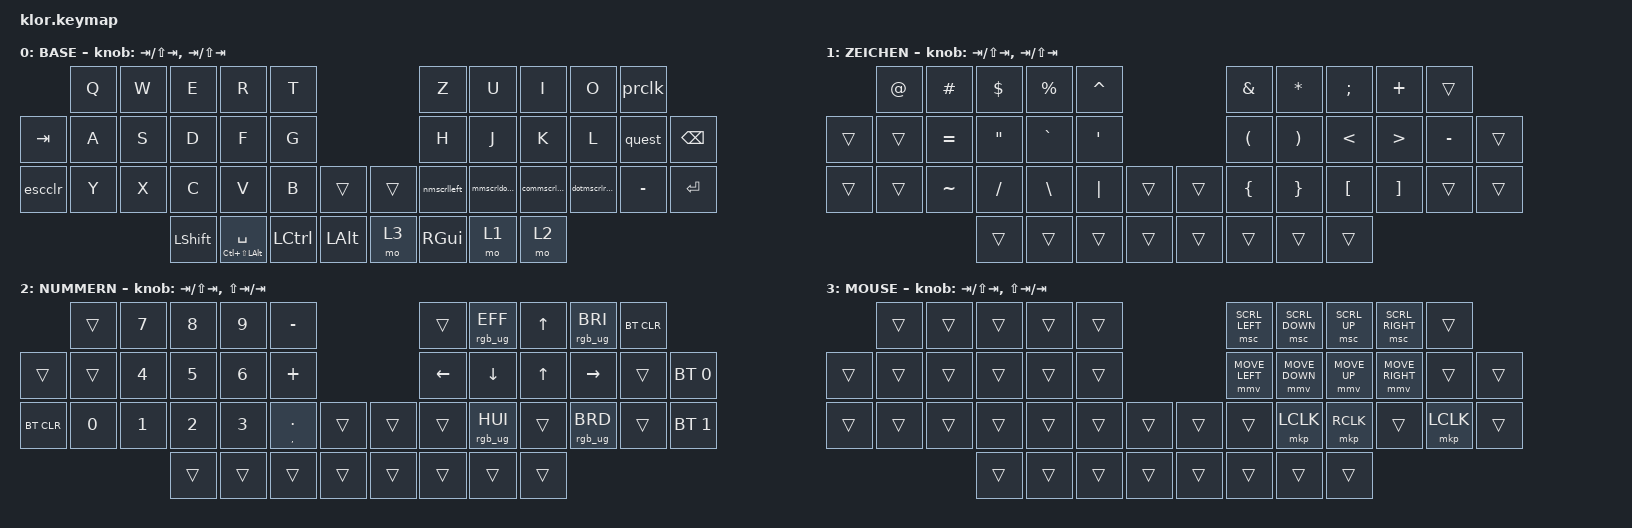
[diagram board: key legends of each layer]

//                               █         █    █            ▄▄▄▀▀▀▀▀▀▄▄▄        █▀▀▀▀▀▀▀▀▀▀█
//                               █        █     █          ▄▀            ▀▄      █          █
//                               █       █      █        ▄▀                ▀▄    █          █
//                               █      █       █        █                  █    █          █
//                               █     █        █       █                    █   █          █
//                               █    █         █       █                    █   █▄▄▄▄▄▄▄▄▄▄█
//                               █   █ █        █       █                    █   █      █
//                               █  █   █       █        █                  █    █       █
//                               █ █     █      █        ▀▄                ▄▀    █        █
//                               ██       █     █          ▀▄            ▄▀      █         █
//                               █         █    █▄▄▄▄▄▄▄▄    ▀▀▀▄▄▄▄▄▄▀▀▀        █          █
//
// ▄▄▄▄▄▄▄▄▄▄▄▄▄▄▄▄▄▄▄▄▄▄▄▄▄▄▄▄▄▄▄▄▄▄▄▄▄▄▄▄▄▄▄▄▄▄▄▄▄▄▄▄▄▄▄▄▄▄▄▄▄▄▄▄▄▄▄▄▄▄▄▄▄▄▄▄▄▄▄▄▄▄▄▄▄▄▄▄▄▄▄▄▄▄▄▄▄▄▄▄▄▄▄▄▄▄▄▄▄▄▄▄▄▄▄▄▄▄▄▄▄▄▄▄▄
       
#define ZMK_POINTING_DEFAULT_MOVE_VAL 1800  // default: 600
#define ZMK_POINTING_DEFAULT_SCRL_VAL 12    // default: 10

#include <behaviors.dtsi>
#include <dt-bindings/zmk/keys.h>
#include <dt-bindings/zmk/bt.h>
#include <dt-bindings/zmk/outputs.h>
#include <dt-bindings/zmk/ext_power.h>
#include <dt-bindings/zmk/rgb.h>
#include <dt-bindings/zmk/pointing.h>


#define BASE   0
#define LOWER  1
#define RAISE  2
#define MOUSE  3

&soft_off {
    hold-time-ms = <5000>; // Only turn off it the key is held for 5 seconds or longer.
};

&mmv {
    acceleration-exponent = <2>;
};

/ {
    behaviors {
        hm: homerow_mods {
            compatible = "zmk,behavior-hold-tap";
            label = "HOMEROW_MODS";
            #binding-cells = <2>;
            tapping-term-ms = <320>;
            quick_tap_ms = <0>;
            flavor = "tap-preferred";
            bindings = <&kp>, <&kp>;
        };

        comma: comma_semi {
            compatible = "zmk,behavior-mod-morph";
            label = "comma_semi";
            #binding-cells = <0>;
            bindings = <&kp COMMA>, <&kp SEMI>;
            mods = <(MOD_LSFT)>;
        };

        dot: dot_colon {
            compatible = "zmk,behavior-mod-morph";
            label = "dot_colon";
            #binding-cells = <0>;
            bindings = <&kp DOT>, <&kp COLON>;
            mods = <(MOD_LSFT)>;
        };

        quest: question_excl {
            compatible = "zmk,behavior-mod-morph";
            label = "question_excl";
            #binding-cells = <0>;
            bindings = <&kp QUESTION>, <&kp EXCL>;
            mods = <(MOD_LSFT)>;
        };

        ctlalt: control_alt {
            compatible = "zmk,behavior-mod-morph";
            label = "control_alt";
            #binding-cells = <0>;
            bindings = <&kp LEFT_CONTROL>, <&kp LEFT_ALT>;
            mods = <(MOD_RGUI)>;
        };

        toadj: toadj {
            compatible = "zmk,behavior-mod-morph";
            label = "toadj";
            #binding-cells = <0>;
            bindings = <&mo 2>, <&to 3>;
            mods = <(MOD_LALT)>;
        };

        escclr: esc_btclr {
            compatible = "zmk,behavior-mod-morph";
            label = "esc_btclr";
            #binding-cells = <0>;
            bindings = <&kp ESC>, <&bt BT_CLR>;
            mods = <(MOD_LSFT)>;
        };

        prclk: p_rclk {
            compatible = "zmk,behavior-mod-morph";
            label = "p_rclk";
            #binding-cells = <0>;
            bindings = <&kp P>, <&mkp RCLK>;
            mods = <(MOD_LALT)>;
        };

        hmleft: h_mleft {
            compatible = "zmk,behavior-mod-morph";
            label = "h_mleft";
            #binding-cells = <0>;
            bindings = <&kp H>, <&mkp MOVE_LEFT>;
            mods = <(MOD_LALT)>;
        };

        jmdown: j_mdown {
            compatible = "zmk,behavior-mod-morph";
            label = "j_mdown";
            #binding-cells = <0>;
            bindings = <&kp J>, <&mkp MOVE_DOWN>;
            mods = <(MOD_LALT)>;
        };

       kmup: k_mup {
            compatible = "zmk,behavior-mod-morph";
            label = "k_mup";
            #binding-cells = <0>;
            bindings = <&kp K>, <&mkp MOVE_UP>;
            mods = <(MOD_LALT)>;
        };

       lmright: l_mright {
            compatible = "zmk,behavior-mod-morph";
            label = "l_mright";
            #binding-cells = <0>;
            bindings = <&kp L>, <&mkp MOVE_RIGHT>;
            mods = <(MOD_LALT)>;
        };

       nmscrlleft: n_mscrlleft {
            compatible = "zmk,behavior-mod-morph";
            label = "n_mscrlleft";
            #binding-cells = <0>;
            bindings = <&kp N>, <&mkp SCRL_LEFT>;
            mods = <(MOD_LALT)>;
        };

       mmscrldown: m_mscrldown {
            compatible = "zmk,behavior-mod-morph";
            label = "m_mscrldown";
            #binding-cells = <0>;
            bindings = <&kp M>, <&mkp SCRL_DOWN>;
            mods = <(MOD_LALT)>;
        };

       commscrlup: com_mscrlup {
            compatible = "zmk,behavior-mod-morph";
            label = "com_mscrlup";
            #binding-cells = <0>;
            bindings = <&comma>, <&mkp SCRL_UP>;
            mods = <(MOD_LALT)>;
        };

       dotmscrlright: dot_mscrlright {
            compatible = "zmk,behavior-mod-morph";
            label = "dot_mscrlright";
            #binding-cells = <0>;
            bindings = <&dot>, <&mkp SCRL_RIGHT>;
            mods = <(MOD_LALT)>;
        };


    };

     combos {
            compatible = "zmk,combos";
            combo_esc {
                timeout-ms = <50>;
                key-positions = <0 1>;
                bindings = <&kp ESC>;
            };
    };



        keymap {
                compatible = "zmk,keymap";


                base_layer {
label= "BASE"                                                  ;
 bindings = <
//╷         ╷         ╷         ╷         ╷                       ╷                       ╷           ╷╷         ╷            ╷             ╷             ╷                ╷          ╷         ╷
              &kp Q     &kp W     &kp E     &kp R                   &kp T                                          &kp Z        &kp U         &kp I        &kp O            &prclk
    &kp TAB   &kp A     &kp S     &kp D     &kp F                   &kp G                                          &kp H        &kp J         &kp K        &kp L            &quest     &kp BSPC
    &escclr   &kp Y     &kp X     &kp C     &kp V                   &kp B                   &trans       &trans    &nmscrlleft  &mmscrldown   &commscrlup  &dotmscrlright   &kp MINUS  &kp RET
                                  &kp LSHFT &hm LC(LS(LALT)) SPACE  &kp LCTRL               &kp LALT     &mo 3     &kp RGUI     &mo 1         &mo 2      
                        >;
            sensor-bindings = <&inc_dec_kp TAB LS(TAB) &inc_dec_kp TAB LS(TAB)>;
                };



                lower_layer {
// ┌───────────────────────────────────────────────────────────┐
label= "ZEICHEN"                                               ;
// └───────────────────────────────────────────────────────────┘
 bindings = <
 //╷        ╷            ╷          ╷           ╷             ╷            ╷        ╷╷         ╷         ╷         ╷         ╷         ╷         ╷         ╷
             &kp AT_SIGN  &kp HASH   &kp DOLLAR  &kp PERCENT   &kp CARET                        &kp AMPS  &kp STAR  &kp SEMI  &kp PLUS  &trans
    &trans   &trans       &kp EQUAL  &kp DQT     &kp GRAVE     &kp SQT                          &kp LPAR  &kp RPAR  &kp LT    &kp GT    &kp MINUS &trans
    &trans   &trans       &kp TILDE  &kp SLASH   &kp BSLH      &kp PIPE     &trans    &trans    &kp LBRC  &kp RBRC  &kp LBKT  &kp RBKT  &trans    &trans
                                     &trans      &trans        &trans       &trans    &trans    &trans    &trans    &trans  
                        >;
            sensor-bindings = <&inc_dec_kp TAB LS(TAB) &inc_dec_kp TAB LS(TAB)>;
                };


                raise_layer {
label= "NUMMERN"                                               ;
 bindings = <
 //╷         ╷       ╷       ╷       ╷       ╷              ╷         ╷╷         ╷         ╷                 ╷       ╷                ╷             ╷         ╷
              &trans  &kp N7  &kp N8  &kp N9  &kp MINUS                           &trans    &rgb_ug RGB_EFF   &kp UP  &rgb_ug RGB_BRI  &bt BT_CLR         
    &trans    &trans  &kp N4  &kp N5  &kp N6  &kp PLUS                            &kp LEFT  &kp DOWN          &kp UP  &kp RIGHT        &trans        &bt BT_SEL 0  
    &bt BT_CLR    &kp N0  &kp N1  &kp N2  &kp N3  &mt COMMA DOT  &trans     &trans    &trans    &rgb_ug RGB_HUI   &trans  &rgb_ug RGB_BRD  &trans    &bt BT_SEL 1
                              &trans  &trans  &trans         &trans     &trans    &trans    &trans            &trans  
                        >;
                sensor-bindings = <&inc_dec_kp TAB LS(TAB) &inc_dec_kp LS(TAB) TAB>;
                };


                mouse_layer {
label= "MOUSE"                                               ;
 bindings = <
 //╷         ╷       ╷       ╷       ╷       ╷              ╷         ╷╷         ╷                 ╷                 ╷             ╷                ╷                  ╷         ╷
              &trans  &trans  &trans  &trans  &trans                              &msc SCRL_LEFT    &msc SCRL_DOWN    &msc SCRL_UP  &msc SCRL_RIGHT  &trans         
    &trans    &trans  &trans  &trans  &trans  &trans                              &mmv MOVE_LEFT    &mmv MOVE_DOWN    &mmv MOVE_UP  &mmv MOVE_RIGHT  &trans             &trans  
    &trans    &trans  &trans  &trans  &trans  &trans         &trans     &trans    &trans            &mkp LCLK         &mkp RCLK     &trans           &mkp LCLK          &trans
                              &trans  &trans  &trans         &trans     &trans    &trans            &trans            &trans  
                        >;
                sensor-bindings = <&inc_dec_kp TAB LS(TAB) &inc_dec_kp LS(TAB) TAB>;
                };
        };
};

